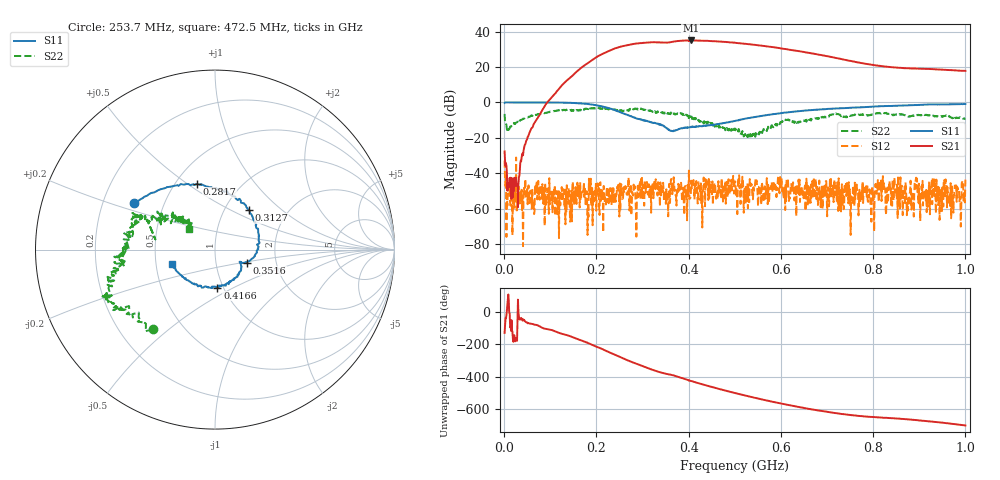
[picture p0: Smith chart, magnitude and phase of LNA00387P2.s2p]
! Created with skrf 1.9.0 (http://scikit-rf.org).
# Hz S RI R 50.0
!freq ReS11 ImS11 ReS21 ImS21 ReS12 ImS12 ReS22 ImS22
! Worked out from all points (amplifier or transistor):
!   1001 points, 1 MHz to 1 GHz, reference 50 ohm
!   highest |S21| = 35.0 dB at 404.6 MHz (marker M1)
!   |S21| within 3 dB of that: 260.5 MHz to 559.4 MHz (298.9 MHz wide, 72.9 % of centre)
!   unconditionally stable (mu >= 1): 209.1 MHz to 247.7 MHz; 247.8 MHz to 294.6 MHz; 299 MHz to end of sweep (the widest 3 of 43)
!   at 166.8 MHz: K = 1.40, MAG = 33.0 dB, |S12| = -54.0 dB
!   at 500.5 MHz: K = 1.67, MAG = 34.4 dB, |S12| = -44.6 dB
!   at 1 GHz: K = 1.70, MAG = 25.9 dB, |S12| = -43.7 dB
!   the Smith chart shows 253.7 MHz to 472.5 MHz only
!   S11 on the Smith chart (normalised r, x): 253.7 MHz: 0.33, +0.24; 281.7 MHz: 0.64, +0.54; 312.7 MHz: 1.29, +0.63; 351.6 MHz: 1.41, -0.21; 416.6 MHz: 0.94, -0.42; 472.5 MHz: 0.60, -0.10
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1000000  0.9707 -0.000833  -0.0262 -0.0316  -0.0228 -0.00142  0.3727 0.2909
1.08892e8  0.5307 -0.8439  -0.7945 -1.506  0.000304 0.00218  0.4191 -0.3841
1.67833e8  -0.2132 -0.9077  -9.686 -0.6132  0.00141 -0.00245  0.033 -0.6444
2.13787e8  -0.6811 -0.3456  -14.96 18.36  -0.00233 -0.00208  -0.2318 -0.6484
2.32768e8  -0.6519 -0.0232  -7.617 29.79  -0.000782 0.000976  -0.2815 -0.5722
2.53747e8  -0.4538 0.2585  7.795 37.05  -0.00138 0.0047  -0.3462 -0.4449
2.81719e8  -0.1009 0.3658  31.92 31.85  -0.00136 0.00321  -0.5715 -0.2985
3.12688e8  0.189 0.2216  48.4 9.494  -0.00243 0.00389  -0.5703 -0.1425
3.34666e8  0.2456 0.0336  49.26 -8.812  -0.00319 0.00114  -0.5421 -0.0341
3.51649e8  0.1758 -0.0728  45.12 -19.29  0.0017 0.00305  -0.4964 0.0183
3.75625e8  0.1443 -0.0856  41.47 -35.18  0.000384 0.00284  -0.4654 0.1687
4.04596e8  0.0778 -0.1845  22.48 -51.76  -0.000394 0.00209  -0.3518 0.1652
4.16584e8  0.0132 -0.2121  12.63 -54.84  0.00093 0.00594  -0.28 0.1674
4.43557e8  -0.1302 -0.1865  -8.233 -53.89  0.00194 0.00658  -0.2047 0.1595
4.72528e8  -0.2419 -0.0791  -26.36 -44.41  -0.00146 0.00123  -0.1463 0.1122
5.005e8  -0.2904 0.0679  -38.41 -30.19  -0.00586 0.000528  -0.146 0.1102
5.4046e8  -0.2447 0.291  -41.95 -8.03  0.00331 -0.00225  -0.1205 -0.00734
5.88412e8  -0.0564 0.4719  -33.52 12.02  0.00305 -0.00311  -0.2135 -0.0744
6.67333e8  0.3126 0.5205  -10.91 21.53  -0.00231 -0.000529  -0.3417 0.0259
7.37263e8  0.5555 0.4106  0.8933 16.09  0.000712 -0.00128  -0.373 0.1126
8.34166e8  0.7756 0.162  4.448 9.029  -0.00407 0.000301  -0.3308 0.3378
1e9  0.8162 -0.3824  7.428 2.365  -0.00503 0.00421  0.0592 0.3454
